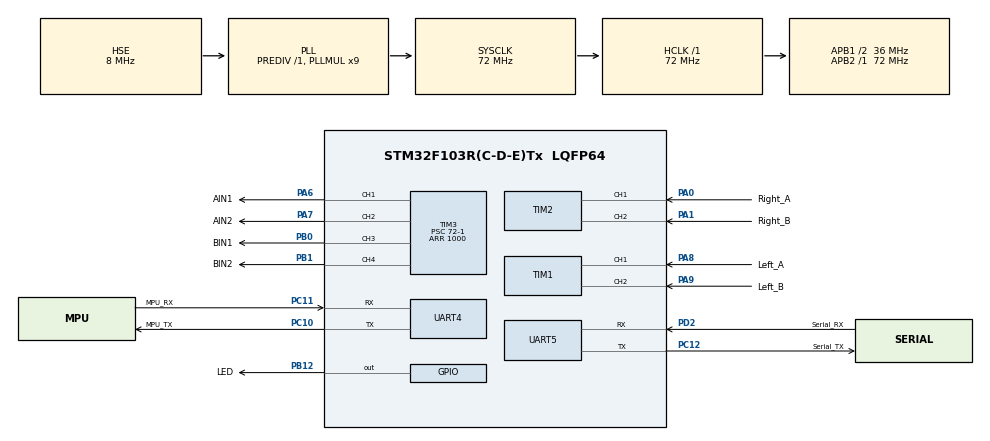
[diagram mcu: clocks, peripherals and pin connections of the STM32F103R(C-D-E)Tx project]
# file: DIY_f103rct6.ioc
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FREERTOS.Tasks01=MPU_TASK,0,200,Read_mpu,Default,NULL,Dynamic,NULL,NULL;PID_TASK,2,200,PID_Control,Default,NULL,Dynamic,NULL,NULL;SERIAL_TASK,-3,128,Read_Serial,Default,NULL,Dynamic,NULL,NULL
Mcu.Family=STM32F1
Mcu.Name=STM32F103R(C-D-E)Tx
Mcu.Package=LQFP64
NVIC.PriorityGroup=NVIC_PRIORITYGROUP_4
NVIC.TIM6_IRQn=true\:10\:0\:true\:false\:true\:true\:true\:true\:true
NVIC.TIM8_UP_IRQn=true\:15\:0\:true\:false\:true\:false\:false\:true\:true
NVIC.TimeBase=TIM8_UP_IRQn
NVIC.TimeBaseIP=TIM8
NVIC.UART4_IRQn=true\:6\:0\:true\:false\:true\:true\:true\:true\:true
NVIC.UART5_IRQn=true\:5\:0\:true\:false\:true\:true\:true\:true\:true
PA0-WKUP.GPIO_Label=Right_A
PA0-WKUP.Signal=S_TIM2_CH1_ETR
PA1.GPIO_Label=Right_B
PA1.Signal=S_TIM2_CH2
PA13.Mode=Serial_Wire
PA13.Signal=SYS_JTMS-SWDIO
PA14.Mode=Serial_Wire
PA14.Signal=SYS_JTCK-SWCLK
PA6.GPIO_Label=AIN1
PA6.GPIO_Speed=GPIO_SPEED_FREQ_HIGH
PA6.Signal=S_TIM3_CH1
PA7.GPIO_Label=AIN2
PA7.GPIO_Speed=GPIO_SPEED_FREQ_HIGH
PA7.Signal=S_TIM3_CH2
PA8.GPIO_Label=Left_A
PA8.Signal=S_TIM1_CH1
PA9.GPIO_Label=Left_B
PA9.Signal=S_TIM1_CH2
PB0.GPIO_Label=BIN1
PB0.GPIO_Speed=GPIO_SPEED_FREQ_HIGH
PB0.Signal=S_TIM3_CH3
PB1.GPIO_Label=BIN2
PB1.GPIO_Speed=GPIO_SPEED_FREQ_HIGH
PB1.Signal=S_TIM3_CH4
PB12.GPIO_Label=LED
PB12.Signal=GPIO_Output
PC10.GPIO_Label=MPU_TX
PC10.Mode=Asynchronous
PC10.Signal=UART4_TX
PC11.GPIO_Label=MPU_RX
PC11.Mode=Asynchronous
PC11.Signal=UART4_RX
PC12.GPIO_Label=Serial_TX
PC12.Mode=Asynchronous
PC12.Signal=UART5_TX
PD0-OSC_IN.Mode=HSE-External-Oscillator
PD0-OSC_IN.Signal=RCC_OSC_IN
PD1-OSC_OUT.Mode=HSE-External-Oscillator
PD1-OSC_OUT.Signal=RCC_OSC_OUT
PD2.GPIO_Label=Serial_RX
PD2.Mode=Asynchronous
PD2.Signal=UART5_RX
ProjectManager.HeapSize=0x200
ProjectManager.StackSize=0x400
ProjectManager.TargetToolchain=MDK-ARM V5.32
RCC.AHBFreq_Value=72000000
RCC.APB1CLKDivider=RCC_HCLK_DIV2
RCC.APB1Freq_Value=36000000
RCC.APB1TimFreq_Value=72000000
RCC.APB2Freq_Value=72000000
RCC.APB2TimFreq_Value=72000000
RCC.HCLKFreq_Value=72000000
RCC.PLLMUL=RCC_PLL_MUL9
RCC.PLLSourceVirtual=RCC_PLLSOURCE_HSE
RCC.SYSCLKFreq_VALUE=72000000
RCC.SYSCLKSource=RCC_SYSCLKSOURCE_PLLCLK
RCC.USBFreq_Value=72000000
SH.S_TIM1_CH1.0=TIM1_CH1,Encoder_Interface
SH.S_TIM1_CH2.0=TIM1_CH2,Encoder_Interface
SH.S_TIM2_CH1_ETR.0=TIM2_CH1,Encoder_Interface
SH.S_TIM2_CH2.0=TIM2_CH2,Encoder_Interface
SH.S_TIM3_CH1.0=TIM3_CH1,PWM Generation1 CH1
SH.S_TIM3_CH2.0=TIM3_CH2,PWM Generation2 CH2
SH.S_TIM3_CH3.0=TIM3_CH3,PWM Generation3 CH3
SH.S_TIM3_CH4.0=TIM3_CH4,PWM Generation4 CH4
TIM1.EncoderMode=TIM_ENCODERMODE_TI12
TIM1.IC1Filter=5
TIM1.IC2Filter=5
TIM2.EncoderMode=TIM_ENCODERMODE_TI12
TIM2.IC1Filter=5
TIM2.IC2Filter=5
TIM3.Channel-PWM\ Generation1\ CH1=TIM_CHANNEL_1
TIM3.Channel-PWM\ Generation2\ CH2=TIM_CHANNEL_2
TIM3.Channel-PWM\ Generation3\ CH3=TIM_CHANNEL_3
TIM3.Channel-PWM\ Generation4\ CH4=TIM_CHANNEL_4
TIM3.Period=1000
TIM3.Prescaler=72-1
TIM6.AutoReloadPreload=TIM_AUTORELOAD_PRELOAD_ENABLE
TIM6.Period=10000-1
TIM6.Prescaler=72-1
UART4.VirtualMode=Asynchronous
UART5.VirtualMode=Asynchronous
VP_FREERTOS_VS_CMSIS_V1.Mode=CMSIS_V1
VP_SYS_VS_tim8.Mode=TIM8
VP_TIM3_VS_ClockSourceINT.Mode=Internal
VP_TIM6_VS_ClockSourceINT.Mode=Enable_Timer
board=custom

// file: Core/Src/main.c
/* USER CODE BEGIN Header */
/**
  ******************************************************************************
  * @file           : main.c
  * @brief          : Main program body
  ******************************************************************************
  * @attention
  *
  * Copyright (c) 2024 STMicroelectronics.
  * All rights reserved.
  *
  * This software is licensed under terms that can be found in the LICENSE file
  * in the root directory of this software component.
  * If no LICENSE file comes with this software, it is provided AS-IS.
  *
  ******************************************************************************
  */
/* USER CODE END Header */
#include "main.h"
#include "cmsis_os.h"
#include "tim.h"
#include "usart.h"
#include "gpio.h"

/* USER CODE BEGIN Includes */
#include "Delay.h"
#include "atk_ms901m.h"
#include "atk_ms901m_uart.h"
#include "pid.h"
/* USER CODE END Includes */

/* USER CODE BEGIN PV */
extern UART_HandleTypeDef huart4;//句柄
extern uint8_t recieve_data;//串口中断接收到的一个字节数据
extern Pid local_pid;//位置
extern Pid left_incremental_pid;//增量
extern Pid right_incremental_pid;
extern Motor_Stat Left_Motor;	/*左轮数据*/
extern Motor_Stat Right_Motor;	/*右轮数据*/
extern atk_ms901m_attitude_data_t attitude_dat;					 /* 姿态角 */

short time_cnt = 0;
//测试
float temp1_pwm;
float temp2_pwm;
/* USER CODE END PV */

void SystemClock_Config(void);
void MX_FREERTOS_Init(void);

int main(void)
{

  /* MCU Configuration--------------------------------------------------------*/

  /* Reset of all peripherals, Initializes the Flash interface and the Systick. */
  HAL_Init();

  /* Configure the system clock */
  SystemClock_Config();

  /* Initialize all configured peripherals */
  MX_GPIO_Init();
  MX_TIM1_Init();
  MX_TIM2_Init();
  MX_TIM3_Init();
  MX_UART4_Init();
  MX_UART5_Init();
  MX_TIM6_Init();
  /* USER CODE BEGIN 2 */
  /*mpu接收中断*/
	HAL_UART_Receive_IT(&huart4,&recieve_data,1);//把串口3接受到的数据放入 recieve_data

	/*编码器*/
	HAL_TIM_Encoder_Start_IT(&htim1,TIM_CHANNEL_ALL);
	HAL_TIM_Encoder_Start_IT(&htim2,TIM_CHANNEL_ALL);

	/*定时回调*/
  HAL_TIM_Base_Start_IT(&htim6);

	/*左电机pwm*/
	HAL_TIM_PWM_Start(&htim3,TIM_CHANNEL_1);
	HAL_TIM_PWM_Start(&htim3,TIM_CHANNEL_2);
	/*右电机pwm*/
	HAL_TIM_PWM_Start(&htim3,TIM_CHANNEL_3);
	HAL_TIM_PWM_Start(&htim3,TIM_CHANNEL_4);

	PID_init();

	//Motor_Set(100,0);

  /* USER CODE END 2 */

  /* Call init function for freertos objects (in freertos.c) */
  MX_FREERTOS_Init();

  /* Start scheduler */
  osKernelStart();

  /* We should never get here as control is now taken by the scheduler */
  /* Infinite loop */
  while (1)
  {

  }
}

void SystemClock_Config(void)
{
  RCC_OscInitTypeDef RCC_OscInitStruct = {0};
  RCC_ClkInitTypeDef RCC_ClkInitStruct = {0};

  /** Initializes the RCC Oscillators according to the specified parameters
  * in the RCC_OscInitTypeDef structure.
  */
  RCC_OscInitStruct.OscillatorType = RCC_OSCILLATORTYPE_HSE;
  RCC_OscInitStruct.HSEState = RCC_HSE_ON;
  RCC_OscInitStruct.HSEPredivValue = RCC_HSE_PREDIV_DIV1;
  RCC_OscInitStruct.HSIState = RCC_HSI_ON;
  RCC_OscInitStruct.PLL.PLLState = RCC_PLL_ON;
  RCC_OscInitStruct.PLL.PLLSource = RCC_PLLSOURCE_HSE;
  RCC_OscInitStruct.PLL.PLLMUL = RCC_PLL_MUL9;
  if (HAL_RCC_OscConfig(&RCC_OscInitStruct) != HAL_OK)
  {
    Error_Handler();
  }

  /** Initializes the CPU, AHB and APB buses clocks
  */
  RCC_ClkInitStruct.ClockType = RCC_CLOCKTYPE_HCLK|RCC_CLOCKTYPE_SYSCLK
                              |RCC_CLOCKTYPE_PCLK1|RCC_CLOCKTYPE_PCLK2;
  RCC_ClkInitStruct.SYSCLKSource = RCC_SYSCLKSOURCE_PLLCLK;
  RCC_ClkInitStruct.AHBCLKDivider = RCC_SYSCLK_DIV1;
  RCC_ClkInitStruct.APB1CLKDivider = RCC_HCLK_DIV2;
  RCC_ClkInitStruct.APB2CLKDivider = RCC_HCLK_DIV1;

  if (HAL_RCC_ClockConfig(&RCC_ClkInitStruct, FLASH_LATENCY_2) != HAL_OK)
  {
    Error_Handler();
  }
}

void HAL_TIM_PeriodElapsedCallback(TIM_HandleTypeDef *htim)
{
  if (htim->Instance == TIM8) {
    HAL_IncTick();
  }
  /* USER CODE BEGIN Callback 1 */
	if(htim == &htim6){
		//0.01s
		time_cnt++;

		/*编码器*/
		int right_tmp_ec = __HAL_TIM_GET_COUNTER(&htim1);
		__HAL_TIM_SET_COUNTER(&htim1,0);
		if(right_tmp_ec > 60000)	right_tmp_ec = right_tmp_ec - EC_ARR;//正反

		float right_distance = 0;
		Right_Motor.EncodeCount = -right_tmp_ec;	//编码器正负调整
		right_distance = (float)(Right_Motor.EncodeCount/RIGHT_EC_1)*C_1;
		Right_Motor.Distance += right_distance;
		Right_Motor.Motorspeed = right_distance/ENCODER_TIME;

		int left_tmp_ec = __HAL_TIM_GET_COUNTER(&htim2);
		__HAL_TIM_SET_COUNTER(&htim2,0);
		if(left_tmp_ec > 60000)	left_tmp_ec = left_tmp_ec - EC_ARR;

		float left_distance = 0;
		Left_Motor.EncodeCount = left_tmp_ec; //编码器正负调整
		left_distance = (float)(Left_Motor.EncodeCount/LEFT_EC_1)*C_1;
		Left_Motor.Distance += left_distance;
		Left_Motor.Motorspeed = left_distance/ENCODER_TIME;

	}
  /* USER CODE END Callback 1 */
}

void Error_Handler(void)
{
  __disable_irq();
  while (1)
  {
  }
}

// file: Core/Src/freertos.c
/* USER CODE BEGIN Header */
/**
  ******************************************************************************
  * File Name          : freertos.c
  * Description        : Code for freertos applications
  ******************************************************************************
  * @attention
  *
  * Copyright (c) 2024 STMicroelectronics.
  * All rights reserved.
  *
  * This software is licensed under terms that can be found in the LICENSE file
  * in the root directory of this software component.
  * If no LICENSE file comes with this software, it is provided AS-IS.
  *
  ******************************************************************************
  */
/* USER CODE END Header */

#include "FreeRTOS.h"
#include "task.h"
#include "main.h"
#include "cmsis_os.h"

/* USER CODE BEGIN Includes */
#include "Delay.h"
#include "atk_ms901m.h"
#include "atk_ms901m_uart.h"
#include "tim.h"
#include "usart.h"
#include "pid.h"
/* USER CODE END Includes */

/* USER CODE BEGIN Variables */
atk_ms901m_gyro_data_t gyro_dat;                   /* 陀螺仪数据 */
atk_ms901m_accelerometer_data_t accelerometer_dat; /* 加速度计数据 */
atk_ms901m_quaternion_data_t quaternion_dat;			 /* 四元数 */
atk_ms901m_attitude_data_t attitude_dat;					 /* 姿态角 */

Motor_Stat Left_Motor;	/*左轮数据*/
Motor_Stat Right_Motor;	/*右轮数据*/

extern Pid local_pid;//位置
extern Pid incremental_pid;//增量

/* USER CODE END Variables */
osThreadId MPU_TASKHandle;
osThreadId PID_TASKHandle;
osThreadId SERIAL_TASKHandle;

void Read_mpu(void const * argument);
void PID_Control(void const * argument);
void Read_Serial(void const * argument);

void MX_FREERTOS_Init(void); /* (MISRA C 2004 rule 8.1) */

/* GetIdleTaskMemory prototype (linked to static allocation support) */
void vApplicationGetIdleTaskMemory( StaticTask_t **ppxIdleTaskTCBBuffer, StackType_t **ppxIdleTaskStackBuffer, uint32_t *pulIdleTaskStackSize );

/* USER CODE BEGIN GET_IDLE_TASK_MEMORY */
static StaticTask_t xIdleTaskTCBBuffer;
static StackType_t xIdleStack[configMINIMAL_STACK_SIZE];

void vApplicationGetIdleTaskMemory( StaticTask_t **ppxIdleTaskTCBBuffer, StackType_t **ppxIdleTaskStackBuffer, uint32_t *pulIdleTaskStackSize )
{
  *ppxIdleTaskTCBBuffer = &xIdleTaskTCBBuffer;
  *ppxIdleTaskStackBuffer = &xIdleStack[0];
  *pulIdleTaskStackSize = configMINIMAL_STACK_SIZE;
  /* place for user code */
}
/* USER CODE END GET_IDLE_TASK_MEMORY */

void MX_FREERTOS_Init(void) {

  /* Create the thread(s) */
  /* definition and creation of MPU_TASK */
  osThreadDef(MPU_TASK, Read_mpu, osPriorityNormal, 0, 200);
  MPU_TASKHandle = osThreadCreate(osThread(MPU_TASK), NULL);

  /* definition and creation of PID_TASK */
  osThreadDef(PID_TASK, PID_Control, osPriorityHigh, 0, 200);
  PID_TASKHandle = osThreadCreate(osThread(PID_TASK), NULL);

  /* definition and creation of SERIAL_TASK */
  osThreadDef(SERIAL_TASK, Read_Serial, osPriorityIdle, 0, 128);
  SERIAL_TASKHandle = osThreadCreate(osThread(SERIAL_TASK), NULL);

}

void Read_mpu(void const * argument)
{
  /* USER CODE BEGIN Read_mpu */
	atk_ms901m_init();

	/* Infinite loop */
  for(;;)
  {
		atk_ms901m_get_attitude(&attitude_dat,100);
		osDelay(100);
  }
  /* USER CODE END Read_mpu */
}

void PID_Control(void const * argument)
{
  /* USER CODE BEGIN PID_Control */

	/* Infinite loop */
  for(;;)
  {
    Motor_Set_Dis(20,20);
		osDelay(20);
  }
  /* USER CODE END PID_Control */
}

void Read_Serial(void const * argument)
{
  for(;;)
  {
    osDelay(1);
  }
}
